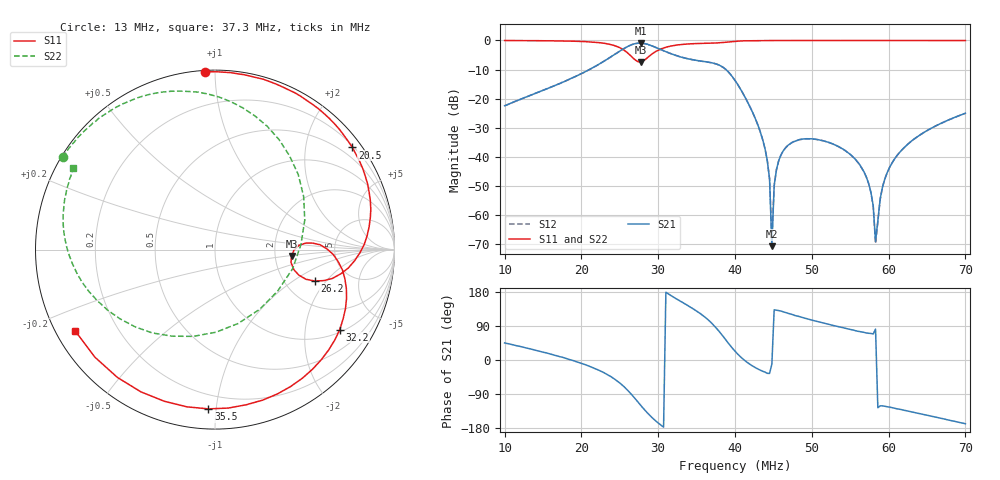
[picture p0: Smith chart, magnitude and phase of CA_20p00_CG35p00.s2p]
#  HZ  S  RI  R  50.00
! Rohde & Schwarz ZVT8 8Ports - Version 4.11 - 1300.0000k08 SN: 100242
! Date: 2026-07-31 14:27:14
! Measurements: S11 S21 S12 S22
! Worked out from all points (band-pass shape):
!   201 points, 10 MHz to 70 MHz, reference 50 ohm
!   highest |S21| = -0.94 dB at 27.7 MHz (marker M1); lowest = -70.6 dB at 44.8 MHz (marker M2)
!   |S21| within 3 dB of the highest: 24.84 MHz to 31.06 MHz (6.219 MHz wide, 22.2 % of centre)
!   lowest |S11| = -7.4 dB at 27.7 MHz (marker M3), VSWR 2.49, Z = 124 - j10.7 ohm
!   |S11| at or under -10 dB: nowhere
!   |S22| runs from -7.6 to 0.0 dB; largest |S21 - S12| = 0.0035
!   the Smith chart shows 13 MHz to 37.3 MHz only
!   S11 on the Smith chart (normalised r, x): 13 MHz: 0.01, +0.94; 20.5 MHz: 0.24, +3.00; 26.2 MHz: 2.89, -1.53; 32.2 MHz: 1.09, -3.06; 35.5 MHz: 0.11, -0.95; 37.3 MHz: 0.06, -0.27
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1e7  -0.4049 0.9105  0.0533 0.0536  0.0531 0.0536  -0.9168 0.3911
1.3e7  -0.0584 0.9888  0.0937 0.0563  0.0937 0.0562  -0.8484 0.5142
2.02e7  0.7407 0.6055  0.2733 -0.049  0.2725 -0.0489  -0.4919 0.8208
2.05e7  0.7655 0.5691  0.2838 -0.0616  0.282 -0.0619  -0.4643 0.8326
2.62e7  0.5544 -0.1749  0.0872 -0.8031  0.0883 -0.8016  0.4939 0.2962
2.77e7  0.4263 -0.0354  -0.4363 -0.7846  -0.437 -0.7868  0.2492 -0.3325
3.01e7  0.6862 -0.0669  -0.7034 -0.151  -0.7014 -0.152  -0.5989 -0.3369
3.22e7  0.6952 -0.4455  -0.5347 0.16  -0.5344 0.1598  -0.8254 0.0108
3.55e7  -0.0371 -0.8873  -0.2361 0.3744  -0.2359 0.3745  -0.8215 0.3515
3.73e7  -0.7786 -0.4535  -0.000243 0.4028  -0.000643 0.403  -0.7892 0.4552
3.85e7  -0.8381 0.3882  0.1645 0.299  0.1652 0.2984  -0.7816 0.5178
4e7  0.0953 0.9584  0.1894 0.0812  0.1894 0.081  -0.7594 0.6142
4.39e7  0.9619 -0.2566  0.0119 -0.0074  0.0118 -0.00741  -0.607 0.7913
4.45e7  0.9111 -0.3995  0.00341 -0.00242  0.00347 -0.00243  -0.5831 0.8094
4.48e7  0.8811 -0.4627  0.000289 -5.58e-05  0.000399 8.55e-06  -0.5715 0.8176
4.51e7  0.849 -0.5209  -0.00218 0.00239  -0.00212 0.00233  -0.5598 0.8265
4.57e7  0.7749 -0.6254  -0.00564 0.00666  -0.00565 0.00661  -0.5352 0.8421
5.02e7  0.1299 -0.9889  -0.00501 0.0197  -0.00513 0.0196  -0.3621 0.9293
5.65e7  -0.6484 -0.758  0.00178 0.00622  0.0018 0.00621  -0.1194 0.9899
5.83e7  -0.7993 -0.5964  5.3e-05 0.000352  5.4e-05 0.000321  -0.0496 0.9963
6.01e7  -0.9078 -0.4104  -0.00366 -0.00538  -0.00364 -0.00539  0.0208 0.9968
7e7  -0.7357 0.6698  -0.0551 -0.0115  -0.055 -0.0114  0.4025 0.9107
